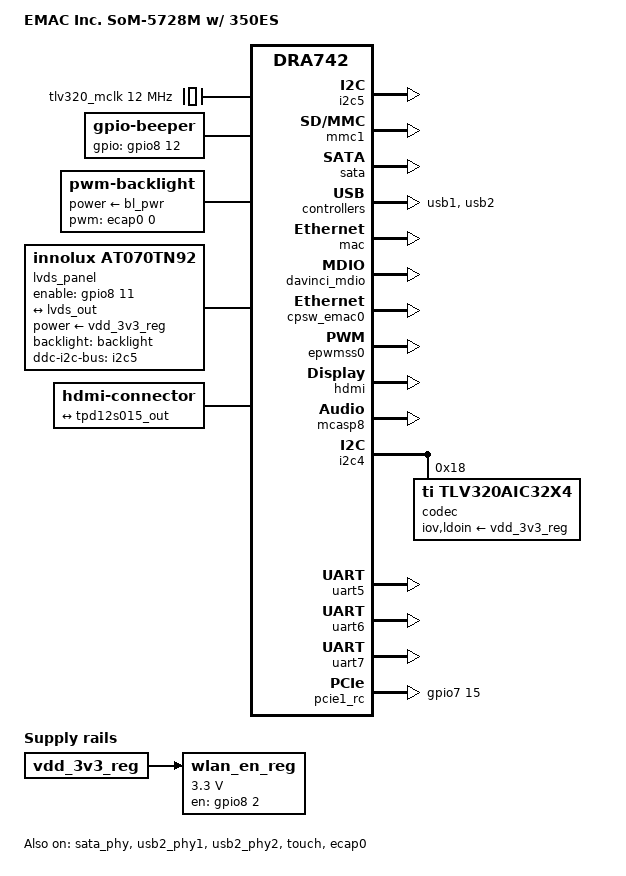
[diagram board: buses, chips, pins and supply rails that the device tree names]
/*
 * Copyright (C) 2014-2016 Texas Instruments Incorporated - http://www.ti.com/
 *
 * This program is free software; you can redistribute it and/or modify
 * it under the terms of the GNU General Public License version 2 as
 * published by the Free Software Foundation.
 */
/dts-v1/;

#include "emac-som-5728m.dtsi"

/ {
	model = "EMAC Inc. SoM-5728M w/ 350ES";
	compatible = "emac,som-5728m-350es", "emac,som-5728m", "ti,am5728", "ti,dra742", "ti,dra74", "ti,dra7";

	aliases {
		com-a = &uart3;
		com-b = &uart5;
		com-c = &uart6;
		com-d = &uart7;
		display0 = &lvds_panel;
		display1 = &hdmi;
	};

	wlan_en_reg: wlan-en-regulator {
		compatible = "regulator-fixed";
		regulator-name = "wlan-en-regulator";
		regulator-min-microvolt = <3300000>;
		regulator-max-microvolt = <3300000>;
		vin-supply = <&vdd_3v3_reg>;
		gpio = <&gpio8 2 GPIO_ACTIVE_HIGH>;
		startup-delay-us = <100000>;
      	enable-active-high;
	};

	clocks {
		#address-cells = <1>;
		#size-cells = <0>;

		tlv320_mclk: tlv320_mclk {
			#clock-cells = <0>;
			compatible = "fixed-clock";
			clock-frequency = <12000000>;
			clock-output-names = "mclk";
		};
	};

	
	beeper: beeper {
		compatible = "gpio-beeper";
		gpios = <&gpio8 12 GPIO_ACTIVE_HIGH>;
	};

	backlight: backlight {
		compatible = "pwm-backlight";
		pwms = <&ecap0 0 50000 0>;
		//enable-gpios = <&gpio6 28 GPIO_ACTIVE_HIGH>;
		power-supply = <&bl_pwr>;
		brightness-levels = <0 10 20 30 40 50 60 70 80 90 100>;
		default-brightness-level = <9>;
	};
	lvds_panel: display {
		compatible = "innolux,at070tn92", "simple-panel";
		backlight = <&backlight>;
		power-supply = <&vdd_3v3_reg>;
		ddc-i2c-bus = <&i2c5>;
		enable-gpios = <&gpio8 11 GPIO_ACTIVE_HIGH>;

		port {
			lcd_in: endpoint {
				remote-endpoint = <&lvds_out>;
			};
		};
	};
	hdmi0_conn: connector {
		compatible = "hdmi-connector";
		label = "hdmi";
		status = "okay";
		type = "a";

		port {
			hdmi_connector_in: endpoint {
				remote-endpoint = <&tpd12s015_out>;
			};
		};
	};
	sound {
		compatible = "simple-audio-card";
		simple-audio-card,format = "i2s";
		simple-audio-card,name = "tlv320aic32x4";
		simple-audio-card,bitclock-master = <&codec_master>;
		simple-audio-card,frame-master = <&codec_master>;
		simple-audio-card,bitclock-inversion;
		simple-audio-card,widgets =
			"Microphone", "Microphone Jack",
			"Headphone", "Headphone Jack";
		simple-audio-card,routing =
			"Headphone Jack", "HPL",
			"Headphone Jack", "HPR",
			"IN1_L", "Microphone Jack",
			"IN1_R", "Microphone Jack",
			"Microphone Jack", "Mic Bias";

		cpu_master: simple-audio-card,cpu {
			sound-dai = <&mcasp8>;
		};

		codec_master: simple-audio-card,codec {
			sound-dai = <&codec>;
			clocks = <&tlv320_mclk>;
		};
	};
};

&i2c5 {
	status = "okay";
};

// SD Card
&mmc1 {
    status = "okay";
};

// Enable SATA
&sata_phy {
	status = "okay";
};
&sata {
	status = "okay";
};

// usb3.x interface
&usb1 { 
	status = "okay";
};
&usb2_phy1 {
	status = "okay";
};

// usb2.x interface
&usb2 { 
	status = "okay";
};
&usb2_phy2 {
	status = "okay";
};

&mac{
	status = "okay";
};

&davinci_mdio {
    status = "okay";
};

&cpsw_emac0 {
    status = "okay";
};


// Display info
&lvds_out {
	remote-endpoint = <&lcd_in>;
	status = "okay";
};
&touch {
	status = "okay";
};
&ecap0 {
	status = "okay";
};
&epwmss0 {
	status = "okay";
};

&hdmi {
	status = "okay";
};
&tpd12s015_out {
	remote-endpoint = <&hdmi_connector_in>;
};

// Sound
&mcasp8 {
	status = "okay";
};

&i2c4 {
	status = "okay";
	codec: tlv320aic32x4@18{
		#sound-dai-cells = <0>;
		compatible = "ti,tlv320aic32x4";
		reg = <0x18>;
		clocks = <&tlv320_mclk>;
		clock-names = "mclk";
		iov-supply = <&vdd_3v3_reg>;
		ldoin-supply = <&vdd_3v3_reg>;
		input-use = <1 1 0 0 0 0>;
		cmode = <0x11 0>;
		status = "okay";
	};	
};

// Wifi
&mmc4 {
    /* disable MMC4 as SDIO is not supported in U-Boot */
	status = "disabled";
	#address-cells = <1>;
	#size-cells = <0>;
	wlcore: wlcore@2 {
		compatible = "ti,wl1835";
		reg = <0x2>;
		interrupt-parent = <&gpio4>;
		interrupts = <10 IRQ_TYPE_LEVEL_HIGH>;
	};
};


// uarts
&uart5 {
	status = "okay";
	// DCD, DTR, DSR, and RI pings invalid
	// Pins DTR and RI do not have gpio muxings, instead provide uart 8
};

&uart6 {
	status = "okay";
};

&uart7 {
	status = "okay";
};

/*
 * Can
 */
&dcan1 {
	/* disable DCAN1 as CAN is not supported in U-Boot */
    status = "disabled";
};

&dcan2 {
	/* disable DCAN2 as CAN is not supported in U-Boot */
    status = "disabled";
};

&pcie1_rc {
	gpios = <&gpio7 15 GPIO_ACTIVE_LOW>;
	status = "okay";
};

&dra7_pmx_core {
	pinctrl-names = "default";
	pinctrl-0 = <&pcie1_pins_default>;

	pcie1_pins_default: pcie1_pins_default {  
		pinctrl-single,pins = <
			DRA7XX_CORE_IOPAD(0x37c0, PIN_OUTPUT_PULLUP | MUX_MODE14) 	/* spi2_sclk.gpio7_14 (pcie_rst) */
			DRA7XX_CORE_IOPAD(0x37c4, PIN_OUTPUT_PULLUP | MUX_MODE14) 	/* spi2_d1.gpio7_15 (pcie_prst) */
		>;
	};
};




